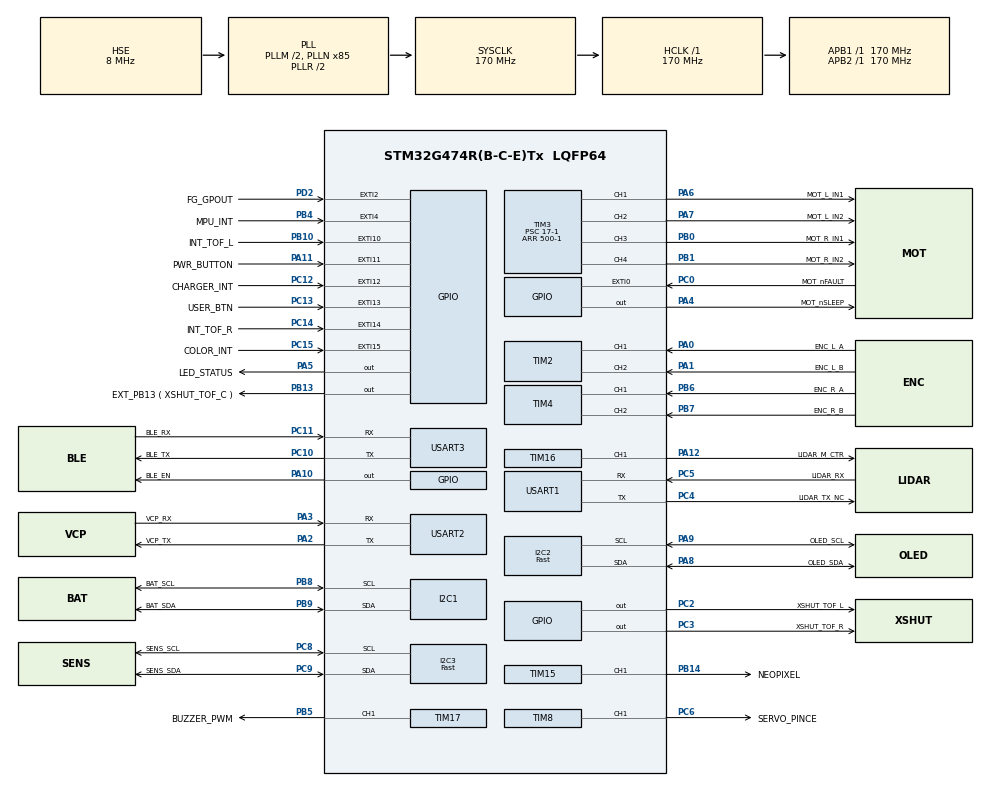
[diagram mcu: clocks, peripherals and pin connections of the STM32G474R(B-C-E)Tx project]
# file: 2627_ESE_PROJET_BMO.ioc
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Dma.I2C2_TX.0.Direction=DMA_MEMORY_TO_PERIPH
Dma.I2C2_TX.0.EventEnable=DISABLE
Dma.I2C2_TX.0.Instance=DMA1_Channel1
Dma.I2C2_TX.0.MemDataAlignment=DMA_MDATAALIGN_BYTE
Dma.I2C2_TX.0.MemInc=DMA_MINC_ENABLE
Dma.I2C2_TX.0.Mode=DMA_NORMAL
Dma.I2C2_TX.0.PeriphDataAlignment=DMA_PDATAALIGN_BYTE
Dma.I2C2_TX.0.PeriphInc=DMA_PINC_DISABLE
Dma.I2C2_TX.0.Polarity=HAL_DMAMUX_REQ_GEN_RISING
Dma.I2C2_TX.0.Priority=DMA_PRIORITY_LOW
Dma.I2C2_TX.0.RequestNumber=1
Dma.I2C2_TX.0.SignalID=NONE
Dma.I2C2_TX.0.SyncEnable=DISABLE
Dma.I2C2_TX.0.SyncPolarity=HAL_DMAMUX_SYNC_NO_EVENT
Dma.I2C2_TX.0.SyncRequestNumber=1
Dma.I2C2_TX.0.SyncSignalID=NONE
Dma.Request0=I2C2_TX
Dma.Request1=USART1_RX
Dma.Request2=TIM15_CH1
Dma.TIM15_CH1.2.Direction=DMA_MEMORY_TO_PERIPH
Dma.TIM15_CH1.2.EventEnable=DISABLE
Dma.TIM15_CH1.2.Instance=DMA1_Channel3
Dma.TIM15_CH1.2.MemDataAlignment=DMA_MDATAALIGN_BYTE
Dma.TIM15_CH1.2.MemInc=DMA_MINC_ENABLE
Dma.TIM15_CH1.2.Mode=DMA_CIRCULAR
Dma.TIM15_CH1.2.PeriphDataAlignment=DMA_PDATAALIGN_HALFWORD
Dma.TIM15_CH1.2.PeriphInc=DMA_PINC_DISABLE
Dma.TIM15_CH1.2.Polarity=HAL_DMAMUX_REQ_GEN_RISING
Dma.TIM15_CH1.2.Priority=DMA_PRIORITY_LOW
Dma.TIM15_CH1.2.RequestNumber=1
Dma.TIM15_CH1.2.SignalID=NONE
Dma.TIM15_CH1.2.SyncEnable=DISABLE
Dma.TIM15_CH1.2.SyncPolarity=HAL_DMAMUX_SYNC_NO_EVENT
Dma.TIM15_CH1.2.SyncRequestNumber=1
Dma.TIM15_CH1.2.SyncSignalID=NONE
Dma.USART1_RX.1.Direction=DMA_PERIPH_TO_MEMORY
Dma.USART1_RX.1.EventEnable=DISABLE
Dma.USART1_RX.1.Instance=DMA1_Channel2
Dma.USART1_RX.1.MemDataAlignment=DMA_MDATAALIGN_BYTE
Dma.USART1_RX.1.MemInc=DMA_MINC_ENABLE
Dma.USART1_RX.1.Mode=DMA_CIRCULAR
Dma.USART1_RX.1.PeriphDataAlignment=DMA_PDATAALIGN_BYTE
Dma.USART1_RX.1.PeriphInc=DMA_PINC_DISABLE
Dma.USART1_RX.1.Polarity=HAL_DMAMUX_REQ_GEN_RISING
Dma.USART1_RX.1.Priority=DMA_PRIORITY_LOW
Dma.USART1_RX.1.RequestNumber=1
Dma.USART1_RX.1.SignalID=NONE
Dma.USART1_RX.1.SyncEnable=DISABLE
Dma.USART1_RX.1.SyncPolarity=HAL_DMAMUX_SYNC_NO_EVENT
Dma.USART1_RX.1.SyncRequestNumber=1
Dma.USART1_RX.1.SyncSignalID=NONE
FREERTOS.INCLUDE_vTaskDelayUntil=1
FREERTOS.Tasks01=defaultTask,0,128,StartDefaultTask,Default,NULL,Dynamic,NULL,NULL
FREERTOS.configCHECK_FOR_STACK_OVERFLOW=2
FREERTOS.configGENERATE_RUN_TIME_STATS=1
FREERTOS.configRECORD_STACK_HIGH_ADDRESS=1
FREERTOS.configTIMER_TASK_PRIORITY=4
FREERTOS.configTOTAL_HEAP_SIZE=16384
FREERTOS.configUSE_MALLOC_FAILED_HOOK=1
FREERTOS.configUSE_STATS_FORMATTING_FUNCTIONS=1
FREERTOS.configUSE_TIMERS=1
FREERTOS.configUSE_TRACE_FACILITY=1
I2C1.Timing=0x40B285C2
I2C2.I2C_Speed_Mode=I2C_Fast
I2C2.Timing=0x40621236
I2C3.I2C_Speed_Mode=I2C_Fast
I2C3.Timing=0x40621236
Mcu.Family=STM32G4
Mcu.Name=STM32G474R(B-C-E)Tx
Mcu.Package=LQFP64
NVIC.DMA1_Channel1_IRQn=true\:5\:0\:true\:false\:true\:true\:false\:true\:true
NVIC.DMA1_Channel2_IRQn=true\:5\:0\:true\:false\:true\:true\:false\:true\:true
NVIC.DMA1_Channel3_IRQn=true\:5\:0\:false\:false\:true\:true\:false\:true\:true
NVIC.EXTI0_IRQn=true\:5\:0\:false\:false\:true\:true\:true\:true\:true
NVIC.EXTI15_10_IRQn=true\:5\:0\:false\:false\:true\:true\:true\:true\:true
NVIC.EXTI4_IRQn=true\:5\:0\:false\:false\:true\:true\:true\:true\:true
NVIC.I2C2_ER_IRQn=true\:5\:0\:true\:false\:true\:true\:true\:true\:true
NVIC.I2C2_EV_IRQn=true\:5\:0\:true\:false\:true\:true\:true\:true\:true
NVIC.PriorityGroup=NVIC_PRIORITYGROUP_4
NVIC.TIM1_UP_TIM16_IRQn=true\:5\:0\:false\:false\:true\:true\:false\:true\:true
NVIC.TIM6_DAC_IRQn=true\:0\:0\:true\:false\:true\:false\:false\:true\:true
NVIC.TimeBase=TIM6_DAC_IRQn
NVIC.TimeBaseIP=TIM6
NVIC.USART1_IRQn=true\:5\:0\:true\:false\:true\:true\:true\:true\:true
NVIC.USART2_IRQn=true\:5\:0\:false\:false\:true\:true\:true\:true\:true
NVIC.USART3_IRQn=true\:5\:0\:false\:false\:true\:true\:true\:true\:true
PA0.GPIO_Label=ENC_L_A
PA0.GPIO_PuPd=GPIO_PULLUP
PA0.Signal=S_TIM2_CH1
PA1.GPIO_Label=ENC_L_B
PA1.GPIO_PuPd=GPIO_PULLUP
PA1.Signal=S_TIM2_CH2
PA10.GPIO_Label=BLE_EN
PA10.Signal=GPIO_Output
PA11.GPIO_Label=PWR_BUTTON
PA11.GPIO_ModeDefaultEXTI=GPIO_MODE_IT_FALLING
PA11.GPIO_PuPd=GPIO_PULLUP
PA11.Signal=GPXTI11
PA12.GPIO_Label=LIDAR_M_CTR
PA12.Signal=S_TIM16_CH1
PA13.Mode=Trace_Asynchronous_SW
PA13.Signal=SYS_JTMS-SWDIO
PA14.Mode=Trace_Asynchronous_SW
PA14.Signal=SYS_JTCK-SWCLK
PA2.GPIO_Label=VCP_TX
PA2.Mode=Asynchronous
PA2.Signal=USART2_TX
PA3.GPIO_Label=VCP_RX
PA3.Mode=Asynchronous
PA3.Signal=USART2_RX
PA4.GPIO_Label=MOT_nSLEEP
PA4.Signal=GPIO_Output
PA5.GPIO_Label=LED_STATUS
PA5.Signal=GPIO_Output
PA6.GPIO_Label=MOT_L_IN1
PA6.Signal=S_TIM3_CH1
PA7.GPIO_Label=MOT_L_IN2
PA7.Signal=S_TIM3_CH2
PA8.GPIO_Label=OLED_SDA
PA8.GPIO_Pu=GPIO_PULLUP
PA8.Mode=I2C
PA8.Signal=I2C2_SDA
PA9.GPIO_Label=OLED_SCL
PA9.GPIO_Pu=GPIO_PULLUP
PA9.Mode=I2C
PA9.Signal=I2C2_SCL
PB0.GPIO_Label=MOT_R_IN1
PB0.Signal=S_TIM3_CH3
PB1.GPIO_Label=MOT_R_IN2
PB1.Signal=S_TIM3_CH4
PB10.GPIO_Label=INT_TOF_L
PB10.GPIO_ModeDefaultEXTI=GPIO_MODE_IT_FALLING
PB10.GPIO_PuPd=GPIO_PULLUP
PB10.Signal=GPXTI10
PB13.GPIO_Label=EXT_PB13 ( XSHUT_TOF_C )
PB13.Signal=GPIO_Output
PB14.GPIO_Label=NEOPIXEL
PB14.Signal=S_TIM15_CH1
PB3.Mode=Trace_Asynchronous_SW
PB3.Signal=SYS_JTDO-SWO
PB4.GPIO_Label=MPU_INT
PB4.GPIO_ModeDefaultEXTI=GPIO_MODE_IT_RISING
PB4.GPIO_PuPd=GPIO_NOPULL
PB4.Signal=GPXTI4
PB5.GPIO_Label=BUZZER_PWM
PB5.Signal=S_TIM17_CH1
PB6.GPIO_Label=ENC_R_A
PB6.GPIO_PuPd=GPIO_PULLUP
PB6.Signal=S_TIM4_CH1
PB7.GPIO_Label=ENC_R_B
PB7.GPIO_PuPd=GPIO_PULLUP
PB7.Signal=S_TIM4_CH2
PB8-BOOT0.GPIO_Label=BAT_SCL
PB8-BOOT0.Mode=I2C
PB8-BOOT0.Signal=I2C1_SCL
PB9.GPIO_Label=BAT_SDA
PB9.Mode=I2C
PB9.Signal=I2C1_SDA
PC0.GPIO_Label=MOT_nFAULT
PC0.GPIO_ModeDefaultEXTI=GPIO_MODE_IT_FALLING
PC0.GPIO_PuPd=GPIO_PULLUP
PC0.Signal=GPXTI0
PC10.GPIO_Label=BLE_TX
PC10.Mode=Asynchronous
PC10.Signal=USART3_TX
PC11.GPIO_Label=BLE_RX
PC11.Mode=Asynchronous
PC11.Signal=USART3_RX
PC12.GPIO_Label=CHARGER_INT
PC12.GPIO_ModeDefaultEXTI=GPIO_MODE_IT_FALLING
PC12.GPIO_PuPd=GPIO_PULLUP
PC12.Signal=GPXTI12
PC13.GPIO_Label=USER_BTN
PC13.GPIO_ModeDefaultEXTI=GPIO_MODE_IT_FALLING
PC13.GPIO_PuPd=GPIO_PULLUP
PC13.Signal=GPXTI13
PC14-OSC32_IN.GPIO_Label=INT_TOF_R
PC14-OSC32_IN.GPIO_ModeDefaultEXTI=GPIO_MODE_IT_FALLING
PC14-OSC32_IN.GPIO_PuPd=GPIO_PULLUP
PC14-OSC32_IN.Signal=GPXTI14
PC15-OSC32_OUT.GPIO_Label=COLOR_INT
PC15-OSC32_OUT.GPIO_ModeDefaultEXTI=GPIO_MODE_IT_FALLING
PC15-OSC32_OUT.GPIO_PuPd=GPIO_PULLUP
PC15-OSC32_OUT.Signal=GPXTI15
PC2.GPIO_Label=XSHUT_TOF_L
PC2.Signal=GPIO_Output
PC3.GPIO_Label=XSHUT_TOF_R
PC3.Signal=GPIO_Output
PC4.GPIO_Label=LIDAR_TX_NC
PC4.Mode=Asynchronous
PC4.Signal=USART1_TX
PC5.GPIO_Label=LIDAR_RX
PC5.Mode=Asynchronous
PC5.Signal=USART1_RX
PC6.GPIO_Label=SERVO_PINCE
PC6.Signal=S_TIM8_CH1
PC8.GPIO_Label=SENS_SCL
PC8.GPIO_Pu=GPIO_PULLUP
PC8.Mode=I2C
PC8.Signal=I2C3_SCL
PC9.GPIO_Label=SENS_SDA
PC9.GPIO_Pu=GPIO_PULLUP
PC9.Mode=I2C
PC9.Signal=I2C3_SDA
PD2.GPIO_Label=FG_GPOUT
PD2.GPIO_ModeDefaultEXTI=GPIO_MODE_IT_FALLING
PD2.GPIO_PuPd=GPIO_PULLUP
PD2.Signal=GPXTI2
PF0-OSC_IN.Mode=HSE-External-Oscillator
PF0-OSC_IN.Signal=RCC_OSC_IN
PF1-OSC_OUT.Mode=HSE-External-Oscillator
PF1-OSC_OUT.Signal=RCC_OSC_OUT
ProjectManager.HeapSize=0x200
ProjectManager.StackSize=0x400
ProjectManager.TargetToolchain=CMake
RCC.ADC12Freq_Value=170000000
RCC.ADC345Freq_Value=170000000
RCC.AHBFreq_Value=170000000
RCC.APB1Freq_Value=170000000
RCC.APB1TimFreq_Value=170000000
RCC.APB2Freq_Value=170000000
RCC.APB2TimFreq_Value=170000000
RCC.CortexFreq_Value=170000000
RCC.EXTERNAL_CLOCK_VALUE=12288000
RCC.HCLKFreq_Value=170000000
RCC.HSE_VALUE=8000000
RCC.HSI48_VALUE=48000000
RCC.HSI_VALUE=16000000
RCC.LSE_VALUE=32768
RCC.PLLM=RCC_PLLM_DIV2
RCC.PLLN=85
RCC.PLLSourceVirtual=RCC_PLLSOURCE_HSE
RCC.SYSCLKFreq_VALUE=170000000
RCC.SYSCLKSource=RCC_SYSCLKSOURCE_PLLCLK
RCC.USBFreq_Value=170000000
RCC.VCOOutputFreq_Value=340000000
SH.S_TIM15_CH1.0=TIM15_CH1,PWM Generation1 CH1
SH.S_TIM16_CH1.0=TIM16_CH1,PWM Generation1 CH1
SH.S_TIM17_CH1.0=TIM17_CH1,PWM Generation1 CH1
SH.S_TIM2_CH1.0=TIM2_CH1,Encoder_Interface
SH.S_TIM2_CH2.0=TIM2_CH2,Encoder_Interface
SH.S_TIM3_CH1.0=TIM3_CH1,PWM Generation1 CH1
SH.S_TIM3_CH2.0=TIM3_CH2,PWM Generation2 CH2
SH.S_TIM3_CH3.0=TIM3_CH3,PWM Generation3 CH3
SH.S_TIM3_CH4.0=TIM3_CH4,PWM Generation4 CH4
SH.S_TIM4_CH1.0=TIM4_CH1,Encoder_Interface
SH.S_TIM4_CH2.0=TIM4_CH2,Encoder_Interface
SH.S_TIM8_CH1.0=TIM8_CH1,PWM Generation1 CH1
TIM15.Channel-PWM\ Generation1\ CH1=TIM_CHANNEL_1
TIM15.PeriodNoDither=212
TIM15.Prescaler=0
TIM15.PulseNoDither_1=0
TIM16.Channel=TIM_CHANNEL_1
TIM16.PeriodNoDither=100-1
TIM16.Prescaler=170-1
TIM16.PulseNoDither_1=35
TIM17.AutoReloadPreload=TIM_AUTORELOAD_PRELOAD_ENABLE
TIM17.Channel=TIM_CHANNEL_1
TIM17.PeriodNoDither=1000-1
TIM17.Prescaler=170-1
TIM2.EncoderMode=TIM_ENCODERMODE_TI12
TIM2.IC1Filter=10
TIM2.IC2Filter=10
TIM3.Channel-PWM\ Generation1\ CH1=TIM_CHANNEL_1
TIM3.Channel-PWM\ Generation2\ CH2=TIM_CHANNEL_2
TIM3.Channel-PWM\ Generation3\ CH3=TIM_CHANNEL_3
TIM3.Channel-PWM\ Generation4\ CH4=TIM_CHANNEL_4
TIM3.PeriodNoDither=500-1
TIM3.Prescaler=17-1
TIM4.EncoderMode=TIM_ENCODERMODE_TI12
TIM4.IC1Filter=10
TIM4.IC2Filter=10
TIM7.Prescaler=17000-1
TIM8.Channel-PWM\ Generation1\ CH1=TIM_CHANNEL_1
TIM8.PeriodNoDither=20000-1
TIM8.Prescaler=170-1
USART1.VirtualMode-Asynchronous=VM_ASYNC
USART2.VirtualMode-Asynchronous=VM_ASYNC
USART3.VirtualMode-Asynchronous=VM_ASYNC
VP_FREERTOS_VS_CMSIS_V1.Mode=CMSIS_V1
VP_SYS_VS_DBSignals.Mode=DisableDeadBatterySignals
VP_SYS_VS_tim6.Mode=TIM6
VP_TIM15_VS_ClockSourceINT.Mode=Internal
VP_TIM16_VS_ClockSourceINT.Mode=Enable_Timer
VP_TIM17_VS_ClockSourceINT.Mode=Enable_Timer
VP_TIM3_VS_ClockSourceINT.Mode=Internal
VP_TIM7_VS_ClockSourceINT.Mode=Enable_Timer
VP_TIM8_VS_ClockSourceINT.Mode=Internal
board=custom

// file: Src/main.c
/* USER CODE BEGIN Header */
/**
  ******************************************************************************
  * @file           : main.c
  * @brief          : Main program body
  ******************************************************************************
  * @attention
  *
  * Copyright (c) 2026 STMicroelectronics.
  * All rights reserved.
  *
  * This software is licensed under terms that can be found in the LICENSE file
  * in the root directory of this software component.
  * If no LICENSE file comes with this software, it is provided AS-IS.
  *
  ******************************************************************************
  */
/* USER CODE END Header */
#include "main.h"
#include "cmsis_os.h"
#include "dma.h"
#include "i2c.h"
#include "tim.h"
#include "usart.h"
#include "gpio.h"

/* USER CODE BEGIN Includes */
#include <stdio.h>
#include <stdbool.h>
#include "FreeRTOS.h"
#include "task.h"
#include "bsp.h"
#include "app.h"
#include "stats.h"
/* USER CODE END Includes */

void SystemClock_Config(void);
void MX_FREERTOS_Init(void);

/* USER CODE BEGIN 0 */
int _write(int file, char *ptr, int len)
{
  (void)file;
  HAL_UART_Transmit(&huart2, (uint8_t*) ptr, len, HAL_MAX_DELAY);
  return len;
}

void leds_process(void)
{
  bsp_leds_process();
}
/* USER CODE END 0 */

int main(void)
{

  /* MCU Configuration--------------------------------------------------------*/

  /* Reset of all peripherals, Initializes the Flash interface and the Systick. */
  HAL_Init();

  /* Configure the system clock */
  SystemClock_Config();

  /* Initialize all configured peripherals */
  MX_GPIO_Init();
  MX_DMA_Init();
  MX_USART2_UART_Init();
  MX_I2C2_Init();
  MX_TIM15_Init();
  MX_USART1_UART_Init();
  MX_TIM2_Init();
  MX_TIM3_Init();
  MX_TIM4_Init();
  MX_I2C3_Init();
  MX_TIM8_Init();
  MX_TIM16_Init();
  MX_I2C1_Init();
  MX_TIM17_Init();
  MX_USART3_UART_Init();
  MX_TIM7_Init();
  /* USER CODE BEGIN 2 */
  printf("\r\n===== BMO RTOS =====\r\n");

  /* Chaque module cree sa propre tache. Le main choisit les priorites :
   * l'ordonnancement global se lit ici, en un seul endroit. */
  bsp_init(3);          /* entrees & capteurs : courte, bloque souvent : la plus prioritaire */
  bsp_init_display(1);  /* affichage OLED : long, peu urgent (avant app_init) */
  app_init(2);          /* objet actif : cree sa file et sa tache */
  // stats_init(1);     /* statistiques : decommenter pour afficher Heap/Stack/CPU toutes les 1s */

  printf("... All tasks are created\r\n");

  vTaskStartScheduler();

  /* vTaskStartScheduler() ne retourne jamais... sauf si le tas FreeRTOS est
   * trop petit pour creer les taches Idle (et timer) : on ne doit pas continuer. */
  printf("Failed starting the scheduler (FreeRTOS heap too small?)\r\n");
  Error_Handler();
  /* USER CODE END 2 */

  /* Call init function for freertos objects (in cmsis_os2.c) */
  MX_FREERTOS_Init();

  /* Start scheduler */
  osKernelStart();

  /* We should never get here as control is now taken by the scheduler */

  /* Infinite loop */
  while (1)
  {

  }
}

void SystemClock_Config(void)
{
  RCC_OscInitTypeDef RCC_OscInitStruct = {0};
  RCC_ClkInitTypeDef RCC_ClkInitStruct = {0};

  /** Configure the main internal regulator output voltage
  */
  HAL_PWREx_ControlVoltageScaling(PWR_REGULATOR_VOLTAGE_SCALE1_BOOST);

  /** Initializes the RCC Oscillators according to the specified parameters
  * in the RCC_OscInitTypeDef structure.
  */
  RCC_OscInitStruct.OscillatorType = RCC_OSCILLATORTYPE_HSE;
  RCC_OscInitStruct.HSEState = RCC_HSE_ON;
  RCC_OscInitStruct.PLL.PLLState = RCC_PLL_ON;
  RCC_OscInitStruct.PLL.PLLSource = RCC_PLLSOURCE_HSE;
  RCC_OscInitStruct.PLL.PLLM = RCC_PLLM_DIV2;
  RCC_OscInitStruct.PLL.PLLN = 85;
  RCC_OscInitStruct.PLL.PLLP = RCC_PLLP_DIV2;
  RCC_OscInitStruct.PLL.PLLQ = RCC_PLLQ_DIV2;
  RCC_OscInitStruct.PLL.PLLR = RCC_PLLR_DIV2;
  if (HAL_RCC_OscConfig(&RCC_OscInitStruct) != HAL_OK)
  {
    Error_Handler();
  }

  /** Initializes the CPU, AHB and APB buses clocks
  */
  RCC_ClkInitStruct.ClockType = RCC_CLOCKTYPE_HCLK|RCC_CLOCKTYPE_SYSCLK
                              |RCC_CLOCKTYPE_PCLK1|RCC_CLOCKTYPE_PCLK2;
  RCC_ClkInitStruct.SYSCLKSource = RCC_SYSCLKSOURCE_PLLCLK;
  RCC_ClkInitStruct.AHBCLKDivider = RCC_SYSCLK_DIV1;
  RCC_ClkInitStruct.APB1CLKDivider = RCC_HCLK_DIV1;
  RCC_ClkInitStruct.APB2CLKDivider = RCC_HCLK_DIV1;

  if (HAL_RCC_ClockConfig(&RCC_ClkInitStruct, FLASH_LATENCY_4) != HAL_OK)
  {
    Error_Handler();
  }
}

void HAL_TIM_PeriodElapsedCallback(TIM_HandleTypeDef *htim)
{
  if (htim->Instance == TIM6)
  {
    HAL_IncTick();
  }
}

void Error_Handler(void)
{
  __disable_irq();
  while (1)
  {
  }
}

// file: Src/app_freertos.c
/* USER CODE BEGIN Header */
/**
  ******************************************************************************
  * File Name          : app_freertos.c
  * Description        : Code for freertos applications
  ******************************************************************************
  * @attention
  *
  * Copyright (c) 2026 STMicroelectronics.
  * All rights reserved.
  *
  * This software is licensed under terms that can be found in the LICENSE file
  * in the root directory of this software component.
  * If no LICENSE file comes with this software, it is provided AS-IS.
  *
  ******************************************************************************
  */
/* USER CODE END Header */

#include "FreeRTOS.h"
#include "task.h"
#include "main.h"
#include "cmsis_os.h"

osThreadId defaultTaskHandle;

void StartDefaultTask(void const * argument);

void MX_FREERTOS_Init(void); /* (MISRA C 2004 rule 8.1) */

/* Hook prototypes */
void configureTimerForRunTimeStats(void);
unsigned long getRunTimeCounterValue(void);
void vApplicationStackOverflowHook(xTaskHandle xTask, signed char *pcTaskName);
void vApplicationMallocFailedHook(void);

/* USER CODE BEGIN 1 */
/* Functions needed when configGENERATE_RUN_TIME_STATS is on (overridden in stats/stats.c) */
__weak void configureTimerForRunTimeStats(void)
{
}

__weak unsigned long getRunTimeCounterValue(void)
{
  return 0;
}
/* USER CODE END 1 */

/* USER CODE BEGIN 4 */
void vApplicationStackOverflowHook(xTaskHandle xTask, signed char *pcTaskName)
{
   /* Run time stack overflow checking is performed if
    * configCHECK_FOR_STACK_OVERFLOW is defined to 1 or 2.
    * Called during a context switch: the system is already damaged, do the minimum!
    * Steady LED_STATUS ON + infinite loop: put a breakpoint here and read pcTaskName. */
   (void)xTask;
   (void)pcTaskName;
   HAL_GPIO_WritePin(LED_STATUS_GPIO_Port, LED_STATUS_Pin, GPIO_PIN_SET);
   for (;;) { }
}
/* USER CODE END 4 */

/* USER CODE BEGIN 5 */
void vApplicationMallocFailedHook(void)
{
   /* Called if pvPortMalloc() fails (FreeRTOS heap too small or fragmented).
    * Steady LED_STATUS ON + infinite loop: put a breakpoint here. */
   HAL_GPIO_WritePin(LED_STATUS_GPIO_Port, LED_STATUS_Pin, GPIO_PIN_SET);
   for (;;) { }
}
/* USER CODE END 5 */

void MX_FREERTOS_Init(void) {

  /* Create the thread(s) */
  /* definition and creation of defaultTask */
  osThreadDef(defaultTask, StartDefaultTask, osPriorityNormal, 0, 128);
  defaultTaskHandle = osThreadCreate(osThread(defaultTask), NULL);

}

void StartDefaultTask(void const * argument)
{
  for(;;)
  {
    osDelay(1);
  }
}
